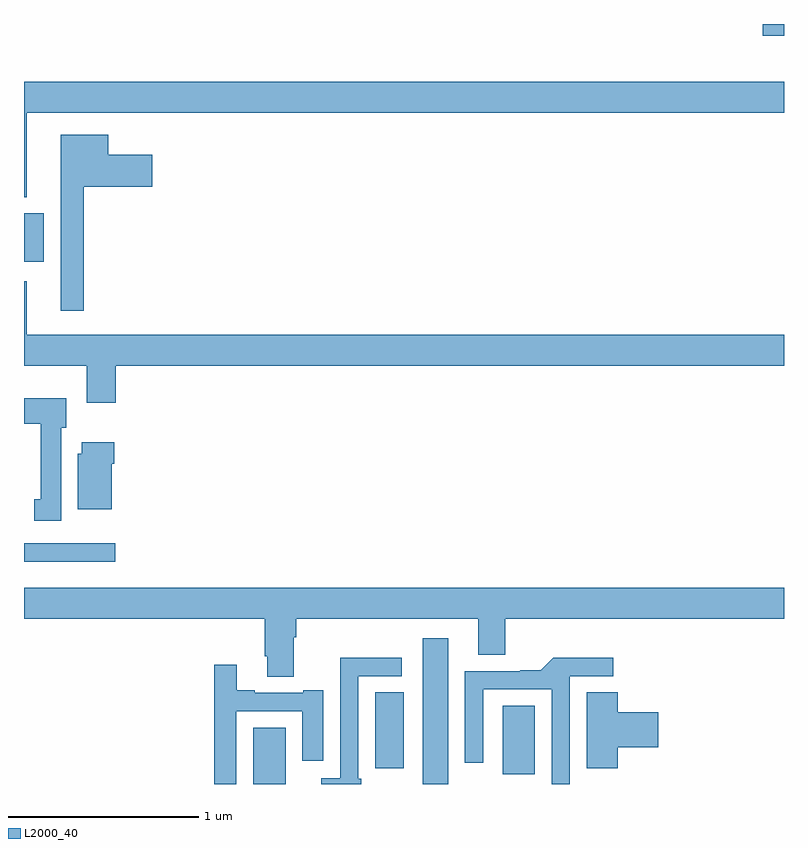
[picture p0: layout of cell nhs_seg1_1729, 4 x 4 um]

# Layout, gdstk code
import gdstk
lib = gdstk.Library(unit=1e-6, precision=1e-09)
def R(c, l, rs):  # rectangles x0, y0, x1, y1
    for r in rs: c.add(gdstk.rectangle(r[:2], r[2:], *l))
def P(c, l, *ps):  # polygons
    for p in ps: c.add(gdstk.Polygon(p, *l))
L2000_40 = (2000, 40)

nhs_seg1_1729 = lib.new_cell('nhs_seg1_1729')
R(nhs_seg1_1729, L2000_40, [(206.207,548.199,206.377,548.494), (207.098,548.199,207.232,548.965), (207.521,548.25,207.688,548.612), (206.849,548.283,206.998,548.681), (205,549.368,205.48,549.465), (205,550.949,205.105,551.203), (208.888,552.138,209,552.199)])
P(nhs_seg1_1729, L2000_40, [(205.015,551.732),(209,551.732),(209,551.896),(205,551.896),(205,551.288),(205.015,551.288)],
  [(205.315,551.342),(205.675,551.342),(205.675,551.512),(205.444,551.512),(205.444,551.617),(205.193,551.617),(205.193,550.689),(205.315,550.689)],
  [(205.484,550.4),(209,550.4),(209,550.564),(205.015,550.564),(205.015,550.846),(205,550.846),(205,550.4),(205.331,550.4),(205.331,550.206),(205.484,550.206)],
  [(205.195,550.074),(205.222,550.074),(205.222,550.228),(205,550.228),(205,550.094),(205.088,550.094),(205.088,549.698),(205.055,549.698),(205.055,549.585),(205.195,549.585)],
  [(205.462,549.884),(205.475,549.884),(205.475,549.997),(205.304,549.997),(205.304,549.936),(205.283,549.936),(205.283,549.644),(205.462,549.644)],
  [(206.419,548.972),(206.432,548.972),(206.432,549.068),(207.392,549.068),(207.392,548.878),(207.532,548.878),(207.532,549.068),(209,549.068),(209,549.232),(205,549.232),(205,549.068),(206.267,549.068),(206.267,548.872),(206.279,548.872),(206.279,548.764),(206.419,548.764)],
  [(206.776,548.226),(206.76,548.226),(206.76,548.766),(206.989,548.766),(206.989,548.864),(206.664,548.864),(206.664,548.23),(206.564,548.23),(206.564,548.199),(206.776,548.199)],
  [(207.873,548.766),(208.102,548.766),(208.102,548.864),(207.785,548.864),(207.719,548.798),(207.611,548.798),(207.611,548.793),(207.321,548.793),(207.321,548.31),(207.417,548.31),(207.417,548.697),(207.777,548.697),(207.777,548.199),(207.873,548.199)],
  [(206.118,548.583),(206.465,548.583),(206.465,548.322),(206.575,548.322),(206.575,548.692),(206.471,548.692),(206.471,548.679),(206.215,548.679),(206.215,548.692),(206.119,548.692),(206.119,548.827),(206.002,548.827),(206.002,548.199),(206.118,548.199)],
  [(208.124,548.393),(208.339,548.393),(208.339,548.576),(208.124,548.576),(208.124,548.681),(207.962,548.681),(207.962,548.283),(208.124,548.283)])

lib.write_gds('nhs_seg1_1729.gds')
